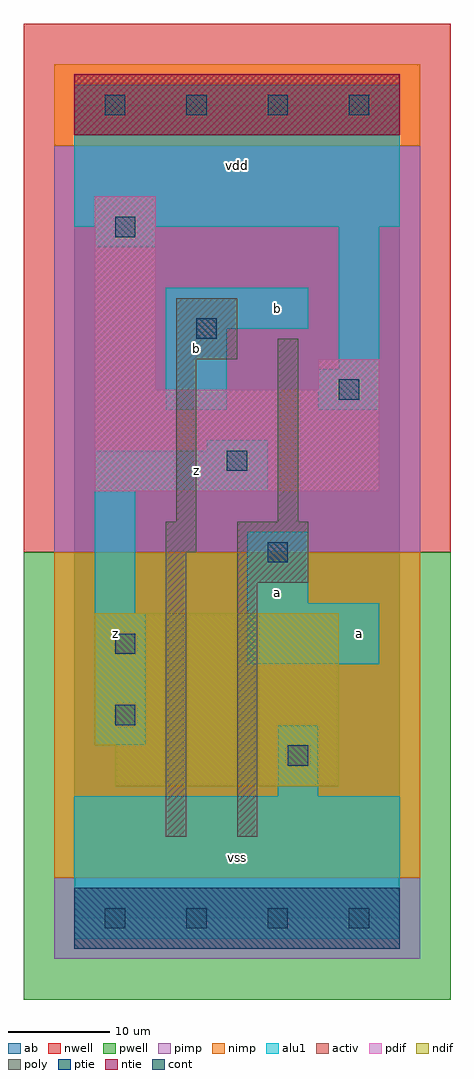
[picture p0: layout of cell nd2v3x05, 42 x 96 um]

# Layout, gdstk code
import gdstk
lib = gdstk.Library(unit=1e-6, precision=1e-09)
def R(c, l, rs):  # rectangles x0, y0, x1, y1
    for r in rs: c.add(gdstk.rectangle(r[:2], r[2:], *l))
def A(c, l, x, y, w, h, nx, ny, dx, dy):  # array of equal rectangles
    R(c, l, [(x+i*dx, y+j*dy, x+i*dx+w, y+j*dy+h) for i in range(nx) for j in range(ny)])
ndif = (3, 0)
pdif = (4, 0)
ntie = (5, 0)
ptie = (6, 0)
cont = (25, 0)
pwell = (41, 0)
nwell = (42, 0)
activ = (43, 0)
pimp = (44, 0)
nimp = (45, 0)
poly = (46, 0)
alu1 = (49, 0)
ab = (63, 0)

nd2v3x05 = lib.new_cell('nd2v3x05')
R(nd2v3x05, ndif, [(4,13,26,17), (2,17,26,30)])
R(nd2v3x05, pdif, [(2,42,30,52), (2,52,8,71), (24,52,30,55)])
R(nd2v3x05, ntie, [(0,77,32,83)])
R(nd2v3x05, ptie, [(0,-3,32,3)])
A(nd2v3x05, cont, 3, -1, 2, 2, 4, 2, 8, 80)
R(nd2v3x05, cont, [(21,15,23,17), (4,19,6,21), (4,26,6,28), (19,35,21,37), (15,44,17,46), (26,51,28,53), (12,57,14,59), (4,67,6,69)])
R(nd2v3x05, pwell, [(-5,-8,37,36)])
R(nd2v3x05, nwell, [(-5,36,37,88)])
R(nd2v3x05, activ, [(0,-3,32,3), (4,13,26,17), (2,17,26,30), (2,42,30,52), (2,52,8,71), (24,52,30,55), (0,77,32,83)])
R(nd2v3x05, pimp, [(-2,-4,34,4), (-2,36,34,76)])
R(nd2v3x05, nimp, [(-2,4,34,36), (-2,76,34,84)])
R(nd2v3x05, poly, [(9,8,11,36), (16,8,18,33), (16,33,23,39), (9,36,12,39), (10,39,12,55), (20,39,22,57), (10,55,16,61)])
R(nd2v3x05, alu1, [(0,-2,32,12), (20,12,24,19), (2,17,7,30), (17,25,30,31), (2,30,6,42), (17,31,23,38), (2,42,19,46), (13,46,19,47), (9,50,15,58), (24,50,30,54), (26,54,30,68), (9,58,23,62), (2,66,8,68), (0,68,32,82)])
R(nd2v3x05, ab, [(0,0,32,80)])
nd2v3x05.add(gdstk.Label('z', (4,28), layer=49, texttype=0))
nd2v3x05.add(gdstk.Label('z', (12,44), layer=49, texttype=0))
nd2v3x05.add(gdstk.Label('b', (12,56), layer=49, texttype=0))
nd2v3x05.add(gdstk.Label('vss', (16,6), layer=49, texttype=0))
nd2v3x05.add(gdstk.Label('a', (20,32), layer=49, texttype=0))
nd2v3x05.add(gdstk.Label('b', (20,60), layer=49, texttype=0))
nd2v3x05.add(gdstk.Label('vdd', (16,74), layer=49, texttype=0))
nd2v3x05.add(gdstk.Label('a', (28,28), layer=49, texttype=0))

lib.write_gds('nd2v3x05.gds')
